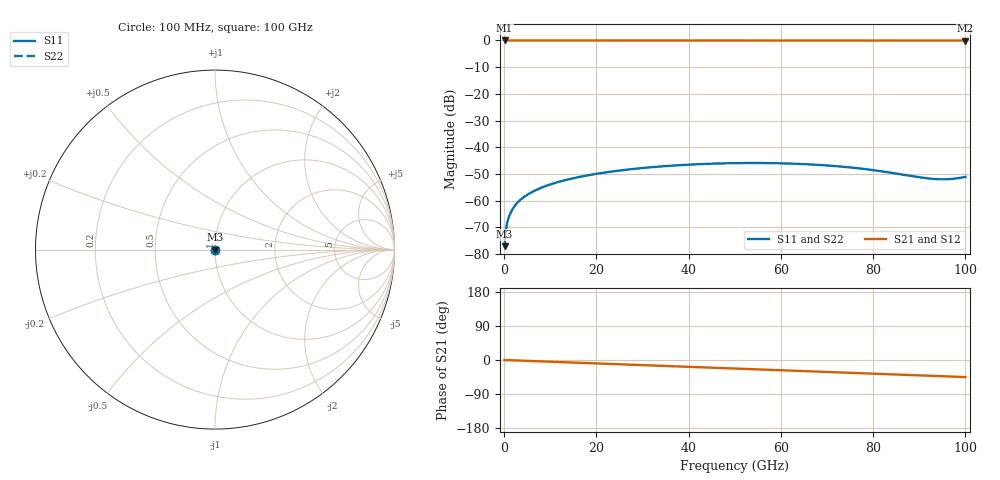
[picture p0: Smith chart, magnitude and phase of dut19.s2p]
! Touchstone file exported from HFSS 2026.1.0
!  File:  C:/ffzhzh/LocalFiles/Ansys_Project_Files/temp_train_TSV_19_1783504379_55944.aedt
!  Generated:  05:54:35 PM Jul  8, 2026
!  Design:  TSV
!  Project:  temp_train_TSV_19_1783504379_55944
! Variables:
!  h_bsmrdl = 2um
!  h_ox = 20um
!  h_rdl = 5um
!  h_sub = 91.94um
!  h_tmrdl = 5um
!  h_tsv = 91.94um
!  h_via = 3um
!  l_bsmrdl = 300um
!  l_sub = 421.6um
!  l_tmrdl = 200um
!  m_sub = 200um
!  pitch = 44.6um
!  r_tsv = 10.8um
!  s_tmrdl = 10um
!  w_bsmrdl = 18um
!  w_sub = 500um
!  w_tmrdl = 12um
!  x_tsv_center1 = 206um
!  x_tsv_center2 = 524um
!  x_tsv_center3 = 736um
!  x_tsv_center4 = 1054um
!  x_tsv_center5 = 1266um
!  x_tsv_center6 = 1584um
# GHz S MA R 50.000000
! Terminal data exported
! Port[1] = TSV1_1_T1
! Port[2] = TSV1_1_T2
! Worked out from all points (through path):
!   1000 points, 100 MHz to 100 GHz, reference 50 ohm
!   highest |S21| = 0.00 dB at 100 MHz (marker M1); lowest = 0.0 dB at 100 GHz (marker M2)
!   group delay of S21, straight-line fit = 1.25 ps
!   lowest |S11| = -77.0 dB at 100 MHz (marker M3), VSWR 1.00, Z = 50 + j0.00621 ohm
!   |S11| at or under -10 dB: start of sweep to end of sweep
!   |S22| runs from -77.0 to -45.9 dB; largest |S21 - S12| = 6.1e-15
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0.1  0.0001408 26.2  0.9999 -0.0  0.9999 -0.0  0.0001408 26.2
! Gamma 0 0 0 0
! Port Impedance 50 0 50 0
0.8  0.000432 50.5  0.9997 -0.4  0.9997 -0.4  0.000432 50.5
1  0.0004899 51.0  0.9997 -0.5  0.9997 -0.5  0.0004899 51.0
1.3  0.0005683 51.9  0.9997 -0.6  0.9997 -0.6  0.0005683 51.9
1.8  0.0006879 53.1  0.9996 -0.8  0.9996 -0.8  0.0006879 53.1
2.3  0.0007984 53.9  0.9995 -1.1  0.9995 -1.1  0.0007985 53.9
3.8  0.001087 55.0  0.9994 -1.7  0.9994 -1.7  0.001087 55.0
6  0.001445 56.1  0.9993 -2.7  0.9993 -2.7  0.001445 56.1
8.9  0.001867 56.7  0.9991 -4.0  0.9991 -4.0  0.001867 56.7
12.5  0.002333 56.5  0.9989 -5.6  0.9989 -5.6  0.002334 56.5
16.8  0.002838 56.0  0.9987 -7.6  0.9987 -7.6  0.002838 56.0
24.4  0.003613 54.1  0.9985 -11.0  0.9985 -11.0  0.003614 54.1
33.4  0.004339 50.9  0.9982 -15.0  0.9982 -15.0  0.00434 50.9
41.6  0.0048 47.2  0.998 -18.7  0.998 -18.7  0.004803 47.2
50.1  0.005051 42.6  0.9978 -22.5  0.9978 -22.5  0.005054 42.5
58.6  0.005038 37.0  0.9976 -26.4  0.9976 -26.4  0.005044 36.9
66.7  0.004759 30.2  0.9974 -30.0  0.9974 -30.0  0.004766 30.0
75.3  0.004169 20.1  0.9972 -33.9  0.9972 -33.9  0.004181 19.9
83.4  0.003388 4.9  0.997 -37.5  0.997 -37.5  0.003405 4.6
93.6  0.002539 -34.7  0.9968 -42.2  0.9968 -42.2  0.002568 -34.7
96.7  0.002541 -52.7  0.9967 -43.6  0.9967 -43.6  0.002572 -52.6
100  0.002792 -71.9  0.9966 -45.1  0.9966 -45.1  0.002822 -71.6
